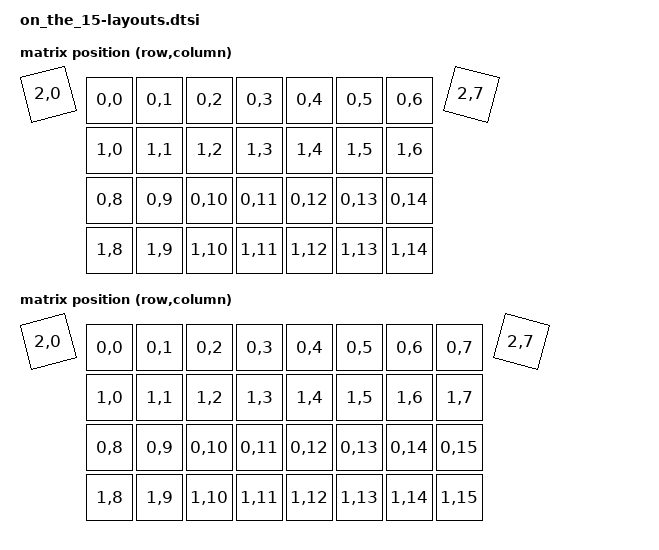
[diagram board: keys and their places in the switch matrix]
/* Physical key order and positions from reference-private/x7_8.json. */

#include <dt-bindings/zmk/matrix_transform.h>
#include <physical_layouts.dtsi>

/ {
    on_the_15_x7_transform: on_the_15_x7_transform {
        compatible = "zmk,matrix-transform";
        columns = <16>;
        rows = <3>;
        map = <
RC(0,0) RC(0,1) RC(0,2) RC(0,3) RC(0,4) RC(0,5) RC(0,6)
RC(1,0) RC(1,1) RC(1,2) RC(1,3) RC(1,4) RC(1,5) RC(1,6)
RC(0,8) RC(0,9) RC(0,10) RC(0,11) RC(0,12) RC(0,13) RC(0,14)
RC(1,8) RC(1,9) RC(1,10) RC(1,11) RC(1,12) RC(1,13) RC(1,14)
RC(2,7) RC(2,0)
        >;
    };

    on_the_15_x8_transform: on_the_15_x8_transform {
        compatible = "zmk,matrix-transform";
        columns = <16>;
        rows = <3>;
        map = <
RC(0,0) RC(0,1) RC(0,2) RC(0,3) RC(0,4) RC(0,5) RC(0,6) RC(0,7)
RC(1,0) RC(1,1) RC(1,2) RC(1,3) RC(1,4) RC(1,5) RC(1,6) RC(1,7)
RC(0,8) RC(0,9) RC(0,10) RC(0,11) RC(0,12) RC(0,13) RC(0,14) RC(0,15)
RC(1,8) RC(1,9) RC(1,10) RC(1,11) RC(1,12) RC(1,13) RC(1,14) RC(1,15)
RC(2,7) RC(2,0)
        >;
    };

    on_the_15_x7_layout: on_the_15_x7_layout {
        compatible = "zmk,physical-layout";
        display-name = "x7";
        transform = <&on_the_15_x7_transform>;

        keys //                      w   h    x    y     rot    rx   ry
            = <&key_physical_attrs 100 100  125   25       0     0    0>
            , <&key_physical_attrs 100 100  225   25       0     0    0>
            , <&key_physical_attrs 100 100  325   25       0     0    0>
            , <&key_physical_attrs 100 100  425   25       0     0    0>
            , <&key_physical_attrs 100 100  525   25       0     0    0>
            , <&key_physical_attrs 100 100  625   25       0     0    0>
            , <&key_physical_attrs 100 100  725   25       0     0    0>
            , <&key_physical_attrs 100 100  125  125       0     0    0>
            , <&key_physical_attrs 100 100  225  125       0     0    0>
            , <&key_physical_attrs 100 100  325  125       0     0    0>
            , <&key_physical_attrs 100 100  425  125       0     0    0>
            , <&key_physical_attrs 100 100  525  125       0     0    0>
            , <&key_physical_attrs 100 100  625  125       0     0    0>
            , <&key_physical_attrs 100 100  725  125       0     0    0>
            , <&key_physical_attrs 100 100  125  225       0     0    0>
            , <&key_physical_attrs 100 100  225  225       0     0    0>
            , <&key_physical_attrs 100 100  325  225       0     0    0>
            , <&key_physical_attrs 100 100  425  225       0     0    0>
            , <&key_physical_attrs 100 100  525  225       0     0    0>
            , <&key_physical_attrs 100 100  625  225       0     0    0>
            , <&key_physical_attrs 100 100  725  225       0     0    0>
            , <&key_physical_attrs 100 100  125  325       0     0    0>
            , <&key_physical_attrs 100 100  225  325       0     0    0>
            , <&key_physical_attrs 100 100  325  325       0     0    0>
            , <&key_physical_attrs 100 100  425  325       0     0    0>
            , <&key_physical_attrs 100 100  525  325       0     0    0>
            , <&key_physical_attrs 100 100  625  325       0     0    0>
            , <&key_physical_attrs 100 100  725  325       0     0    0>
            , <&key_physical_attrs 100 100  850    0    1500   850   50>
            , <&key_physical_attrs 100 100    0    0  (-1500)  100   50>
            ;
    };

    on_the_15_x8_layout: on_the_15_x8_layout {
        compatible = "zmk,physical-layout";
        display-name = "x8";
        transform = <&on_the_15_x8_transform>;

        keys //                      w   h    x    y     rot    rx   ry
            = <&key_physical_attrs 100 100  125   25       0     0    0>
            , <&key_physical_attrs 100 100  225   25       0     0    0>
            , <&key_physical_attrs 100 100  325   25       0     0    0>
            , <&key_physical_attrs 100 100  425   25       0     0    0>
            , <&key_physical_attrs 100 100  525   25       0     0    0>
            , <&key_physical_attrs 100 100  625   25       0     0    0>
            , <&key_physical_attrs 100 100  725   25       0     0    0>
            , <&key_physical_attrs 100 100  825   25       0     0    0>
            , <&key_physical_attrs 100 100  125  125       0     0    0>
            , <&key_physical_attrs 100 100  225  125       0     0    0>
            , <&key_physical_attrs 100 100  325  125       0     0    0>
            , <&key_physical_attrs 100 100  425  125       0     0    0>
            , <&key_physical_attrs 100 100  525  125       0     0    0>
            , <&key_physical_attrs 100 100  625  125       0     0    0>
            , <&key_physical_attrs 100 100  725  125       0     0    0>
            , <&key_physical_attrs 100 100  825  125       0     0    0>
            , <&key_physical_attrs 100 100  125  225       0     0    0>
            , <&key_physical_attrs 100 100  225  225       0     0    0>
            , <&key_physical_attrs 100 100  325  225       0     0    0>
            , <&key_physical_attrs 100 100  425  225       0     0    0>
            , <&key_physical_attrs 100 100  525  225       0     0    0>
            , <&key_physical_attrs 100 100  625  225       0     0    0>
            , <&key_physical_attrs 100 100  725  225       0     0    0>
            , <&key_physical_attrs 100 100  825  225       0     0    0>
            , <&key_physical_attrs 100 100  125  325       0     0    0>
            , <&key_physical_attrs 100 100  225  325       0     0    0>
            , <&key_physical_attrs 100 100  325  325       0     0    0>
            , <&key_physical_attrs 100 100  425  325       0     0    0>
            , <&key_physical_attrs 100 100  525  325       0     0    0>
            , <&key_physical_attrs 100 100  625  325       0     0    0>
            , <&key_physical_attrs 100 100  725  325       0     0    0>
            , <&key_physical_attrs 100 100  825  325       0     0    0>
            , <&key_physical_attrs 100 100  950    0    1500   950   50>
            , <&key_physical_attrs 100 100    0    0  (-1500)  100   50>
            ;
    };

    on_the_15_position_map: on_the_15_position_map {
        compatible = "zmk,physical-layout-position-map";
        complete;

        x8_positions {
            physical-layout = <&on_the_15_x8_layout>;
            positions
                = < 0  1  2  3  4  5  6  7>
                , < 8  9 10 11 12 13 14 15>
                , <16 17 18 19 20 21 22 23>
                , <24 25 26 27 28 29 30 31>
                , <32 33>;
        };

        x7_positions {
            physical-layout = <&on_the_15_x7_layout>;
            positions
                = < 0  1  2  3  4  5  6 30>
                , < 7  8  9 10 11 12 13 31>
                , <14 15 16 17 18 19 20 32>
                , <21 22 23 24 25 26 27 33>
                , <28 29>;
        };
    };
};
